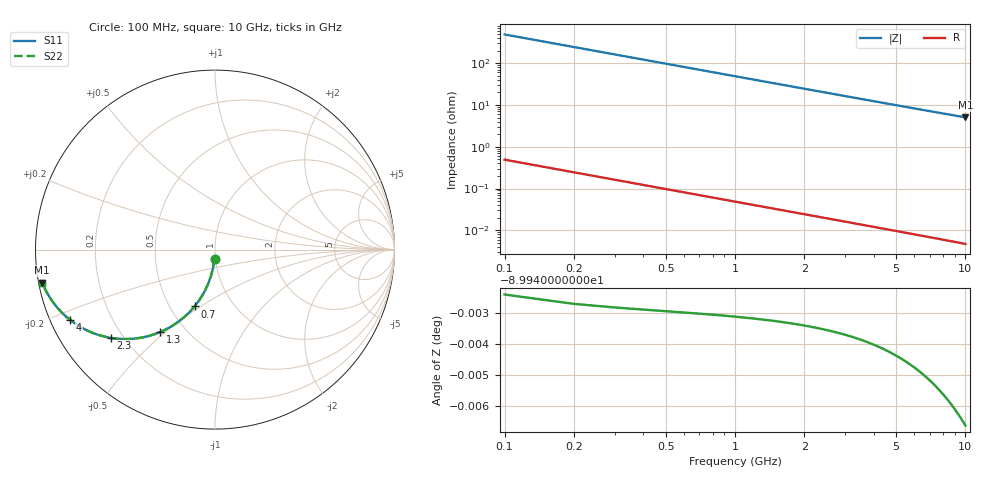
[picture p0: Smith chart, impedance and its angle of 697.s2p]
# Hz S RI R 50.00
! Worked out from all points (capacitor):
!   100 points, 100 MHz to 10 GHz, reference 50 ohm
!   read as one part in shunt: C = 3.26 pF near 100 MHz
!   lowest |Z| = 5.06 ohm at 10 GHz (marker M1)
!   S11 on the Smith chart (normalised r, x): 100 MHz: 0.99, -0.10; 700 MHz: 0.66, -0.47; 1.3 GHz: 0.36, -0.48; 2.3 GHz: 0.15, -0.36; 4 GHz: 0.06, -0.23; 10 GHz: 0.01, -0.09
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1e8  -0.00265 -0.051  0.9973 -0.0511  0.9973 -0.0511  -0.00265 -0.051
2e8  -0.0105 -0.1012  0.9895 -0.1014  0.9895 -0.1014  -0.0105 -0.1012
3e8  -0.0232 -0.1498  0.9768 -0.1502  0.9768 -0.1502  -0.0232 -0.1498
4e8  -0.0404 -0.1962  0.9596 -0.1967  0.9596 -0.1967  -0.0404 -0.1962
5e8  -0.0617 -0.2398  0.9383 -0.2404  0.9383 -0.2404  -0.0617 -0.2398
6e8  -0.0864 -0.2801  0.9136 -0.2808  0.9136 -0.2808  -0.0864 -0.2801
7e8  -0.114 -0.3169  0.886 -0.3176  0.886 -0.3176  -0.114 -0.3169
8e8  -0.1437 -0.3499  0.8562 -0.3508  0.8562 -0.3508  -0.1437 -0.3499
1e9  -0.2076 -0.4045  0.7924 -0.4056  0.7924 -0.4056  -0.2076 -0.4045
1.3e9  -0.3065 -0.4598  0.6935 -0.4613  0.6935 -0.4613  -0.3065 -0.4598
1.5e9  -0.3702 -0.4816  0.6298 -0.4832  0.6298 -0.4832  -0.3702 -0.4816
1.8e9  -0.4581 -0.4968  0.5419 -0.4987  0.5419 -0.4987  -0.4581 -0.4968
2.3e9  -0.5793 -0.4919  0.4207 -0.4944  0.4207 -0.4944  -0.5793 -0.4919
2.8e9  -0.6706 -0.468  0.3294 -0.471  0.3294 -0.471  -0.6706 -0.468
3.4e9  -0.7497 -0.4308  0.2503 -0.4346  0.2503 -0.4346  -0.7497 -0.4308
4e9  -0.8053 -0.3932  0.1947 -0.3976  0.1947 -0.3976  -0.8053 -0.3932
4.5e9  -0.8394 -0.3641  0.1606 -0.3691  0.1606 -0.3691  -0.8394 -0.3641
5.1e9  -0.8702 -0.3327  0.1298 -0.3384  0.1298 -0.3384  -0.8702 -0.3327
5.8e9  -0.8965 -0.3009  0.1035 -0.3074  0.1035 -0.3074  -0.8965 -0.3009
6.7e9  -0.9202 -0.2666  0.0797 -0.2741  0.0797 -0.2741  -0.9202 -0.2666
8.4e9  -0.9477 -0.2173  0.0522 -0.2268  0.0522 -0.2268  -0.9477 -0.2173
1e10  -0.9626 -0.1835  0.0373 -0.1949  0.0373 -0.1949  -0.9626 -0.1835
